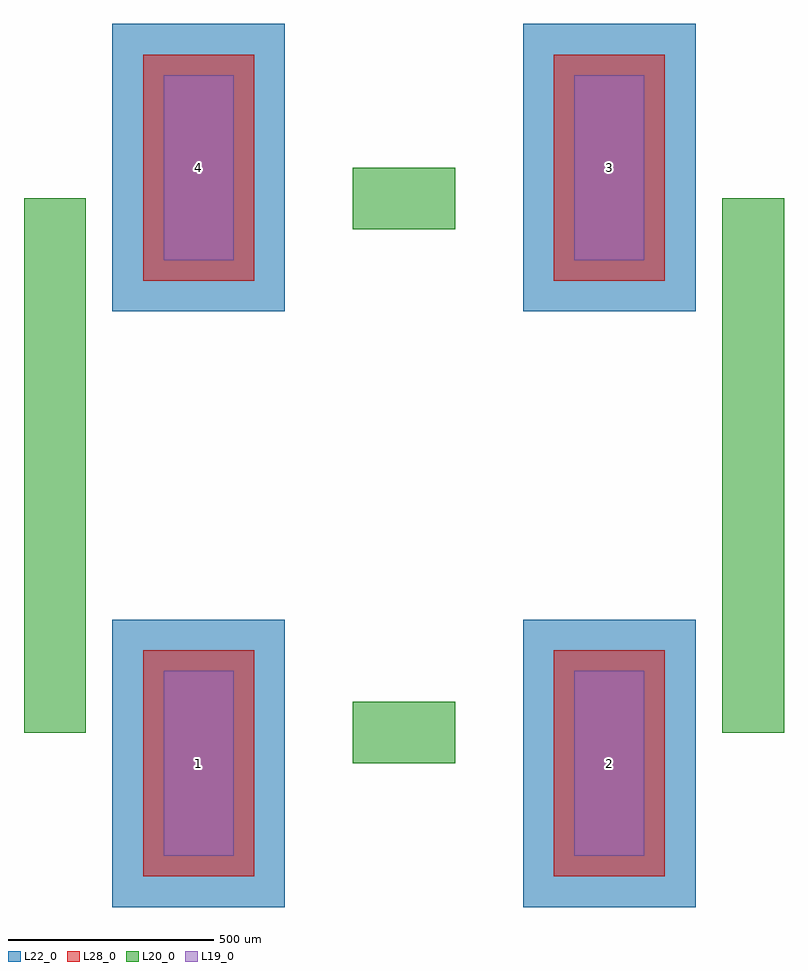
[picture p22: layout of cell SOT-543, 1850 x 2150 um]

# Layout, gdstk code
import gdstk
lib = gdstk.Library(unit=1e-6, precision=1e-09)
def R(c, l, rs):  # rectangles x0, y0, x1, y1
    for r in rs: c.add(gdstk.rectangle(r[:2], r[2:], *l))
L19_0 = (19, 0)
L20_0 = (20, 0)
L22_0 = (22, 0)
L28_0 = (28, 0)

sot_543 = lib.new_cell('SOT-543')
R(sot_543, L19_0, [(-585,-950,-415,-500), (415,-950,585,-500), (-585,500,-415,950), (415,500,585,950)])
R(sot_543, L22_0, [(-710,-1075,-290,-375), (290,-1075,710,-375), (-710,375,-290,1075), (290,375,710,1075)])
R(sot_543, L28_0, [(-635,-1000,-365,-450), (365,-1000,635,-450), (-635,450,-365,1000), (365,450,635,1000)])
sot_543.add(gdstk.FlexPath([(850,650),(850,-650)], 149.998, ends="flush", simple_path=True, layer=20, datatype=0))  # L20_0
sot_543.add(gdstk.FlexPath([(-850,650),(-850,-650)], 149.998, ends="flush", simple_path=True, layer=20, datatype=0))  # L20_0
sot_543.add(gdstk.FlexPath([(-125,650),(125,650)], 149.998, ends="flush", simple_path=True, layer=20, datatype=0))  # L20_0
sot_543.add(gdstk.FlexPath([(-125,-650),(125,-650)], 149.998, ends="flush", simple_path=True, layer=20, datatype=0))  # L20_0
sot_543.add(gdstk.Label('4', (-500,725), layer=28, texttype=0))
sot_543.add(gdstk.Label('3', (500,725), layer=28, texttype=0))
sot_543.add(gdstk.Label('2', (500,-725), layer=28, texttype=0))
sot_543.add(gdstk.Label('1', (-500,-725), layer=28, texttype=0))
sot_543.add(gdstk.Label('type', (0,-2032), layer=9, texttype=0))
sot_543.add(gdstk.Label('devicename', (0,1778), layer=9, texttype=0))

lib.write_gds('SOT-543.gds')
